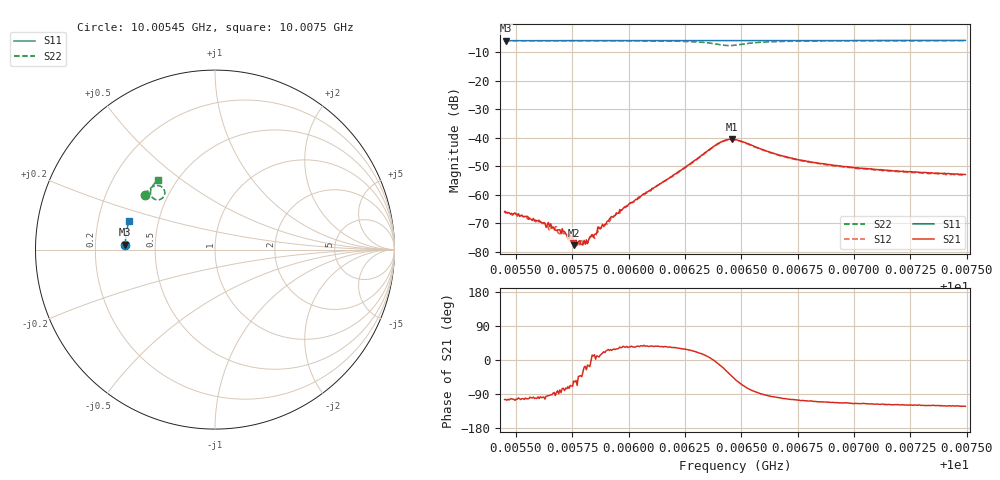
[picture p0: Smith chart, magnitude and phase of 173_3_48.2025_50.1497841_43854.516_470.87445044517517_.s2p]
#  HZ  S  RI  R  50.00
! Rohde & Schwarz Vector Network Analyzer
! Rohde-Schwarz,ZNB20-2Port,1311601062101988,3.16
! Created: UTC 3/20/2024, 11:43:49 AM
! freq[Hz]  re:S11  im:S11  re:S21  im:S21  re:S12  im:S12  re:S22  im:S22
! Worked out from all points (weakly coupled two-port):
!   401 points, 10.00545 GHz to 10.0075 GHz, reference 50 ohm
!   highest |S21| = -40.58 dB at 10.00646 GHz (marker M1); lowest = -77.8 dB at 10.00576 GHz (marker M2)
!   lowest |S11| = -6.0 dB at 10.00545 GHz (marker M3), VSWR 3.00, Z = 16.7 + j1.21 ohm
!   |S11| at or under -10 dB: nowhere
!   |S22| runs from -7.7 to -6.0 dB; largest |S21 - S12| = 0.00055
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1.000545e10  -0.4999 0.0268  -0.000123 -0.00048  -0.000113 -0.000512  -0.392 0.3045
1.0005455e10  -0.4997 0.0273  -0.000121 -0.000479  -0.000112 -0.000463  -0.3918 0.3048
1.0005603e10  -0.4995 0.0368  -6.77e-05 -0.000327  -9.2e-06 -0.000358  -0.3853 0.3137
1.0005649e10  -0.4992 0.0399  -1.64e-05 -0.000273  -1.34e-05 -0.000233  -0.3829 0.3165
1.000567e10  -0.4992 0.0412  1.92e-05 -0.000252  1.32e-05 -0.000231  -0.3821 0.3178
1.0005695e10  -0.4992 0.0429  4.66e-05 -0.000239  3.46e-05 -0.000201  -0.3808 0.3194
1.0005716e10  -0.4991 0.0442  3.76e-05 -0.000223  5.23e-05 -0.0002  -0.3797 0.3207
1.0005736e10  -0.4989 0.0455  4.55e-05 -0.000171  5.64e-05 -0.000158  -0.3788 0.3219
1.0005757e10  -0.499 0.0468  7.35e-05 -0.000106  4.48e-05 -0.00016  -0.3777 0.3232
1.0005772e10  -0.4987 0.0477  5.13e-05 -0.00012  0.000103 -9.11e-05  -0.3766 0.3241
1.0005792e10  -0.4988 0.0491  9.57e-05 -9.27e-05  0.000122 -9.49e-05  -0.3757 0.3255
1.0005818e10  -0.4988 0.0509  0.000135 -3.19e-05  0.000141 -2.93e-05  -0.3742 0.3272
1.0005874e10  -0.4984 0.0544  0.00025 5.71e-05  0.000242 6.07e-05  -0.3709 0.3308
1.0005936e10  -0.498 0.0583  0.000368 0.000203  0.000364 0.000218  -0.367 0.3348
1.0006135e10  -0.4967 0.0714  0.00121 0.000884  0.00118 0.000929  -0.3491 0.349
1.0006391e10  -0.4939 0.0876  0.00755 -0.000845  0.00738 -0.000401  -0.2824 0.3309
1.0006457e10  -0.4932 0.0914  0.00693 -0.00628  0.00708 -0.0058  -0.2977 0.2835
1.0006472e10  -0.4931 0.0923  0.00581 -0.0072  0.00608 -0.00673  -0.3091 0.2783
1.0006667e10  -0.4918 0.1047  -0.000815 -0.00492  -0.000582 -0.00487  -0.3594 0.324
1.0006815e10  -0.49 0.1141  -0.00119 -0.00352  -0.00101 -0.00351  -0.353 0.3449
1.0007158e10  -0.4852 0.1358  -0.00122 -0.00237  -0.00106 -0.00233  -0.3345 0.3711
1.0007495e10  -0.4796 0.1569  -0.0012 -0.00191  -0.00107 -0.00189  -0.3168 0.3893
